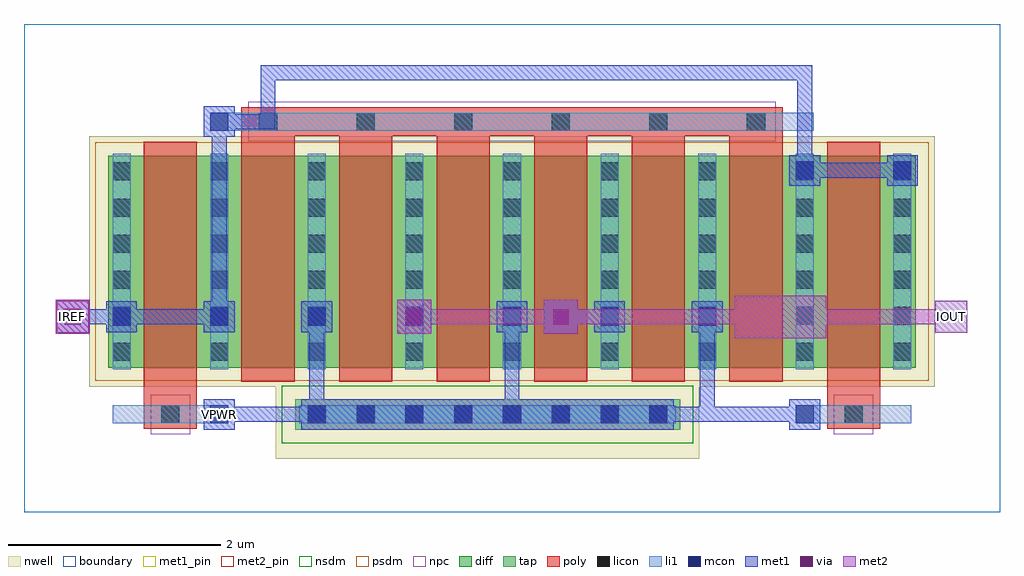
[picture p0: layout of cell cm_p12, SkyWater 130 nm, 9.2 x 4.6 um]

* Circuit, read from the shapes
.subckt cm_p12 IOUT IREF VPWR
XM1 IREF VPWR IREF VPWR sky130_fd_pr__pfet_01v8 w=2 l=0.5 m=2
XM2 VPWR IREF IREF VPWR sky130_fd_pr__pfet_01v8 w=2 l=0.5 m=2
XM3 IOUT IREF VPWR VPWR sky130_fd_pr__pfet_01v8 w=2 l=0.5 m=4
.ends

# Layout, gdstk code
import gdstk
lib = gdstk.Library(unit=1e-6, precision=1e-09)
def R(c, l, rs):  # rectangles x0, y0, x1, y1
    for r in rs: c.add(gdstk.rectangle(r[:2], r[2:], *l))
def A(c, l, x, y, w, h, nx, ny, dx, dy):  # array of equal rectangles
    R(c, l, [(x+i*dx, y+j*dy, x+i*dx+w, y+j*dy+h) for i in range(nx) for j in range(ny)])
nwell = (64, 20)
diff = (65, 20)
tap = (65, 44)
poly = (66, 20)
licon = (66, 44)
li1 = (67, 20)
mcon = (67, 44)
met1_pin = (68, 16)
met1 = (68, 20)
via = (68, 44)
met2_pin = (69, 16)
met2 = (69, 20)
nsdm = (93, 44)
psdm = (94, 20)
npc = (95, 20)
boundary = (235, 4)

cm_p12 = lib.new_cell('cm_p12')
R(cm_p12, nwell, [(2.375,0.5,6.365,1.18), (0.615,1.18,8.585,3.54)])
R(cm_p12, diff, [(0.795,1.36,8.405,3.36)])
R(cm_p12, tap, [(2.555,0.775,6.185,1.065)])
A(cm_p12, poly, 2.05, 1.23, 0.5, 2.45, 6, 1, 0.92, 0)
R(cm_p12, poly, [(1.13,0.785,1.63,1.055), (7.57,0.785,8.07,1.055), (1.13,0.92,1.63,3.49), (7.57,0.92,8.07,3.49), (2.05,3.545,7.15,3.815)])
A(cm_p12, licon, 2.675, 0.835, 0.17, 0.17, 8, 1, 0.46, 0)
A(cm_p12, licon, 0.835, 1.425, 0.17, 0.17, 9, 6, 0.92, 0.34)
A(cm_p12, licon, 2.215, 3.595, 0.17, 0.17, 6, 1, 0.92, 0)
R(cm_p12, licon, [(1.295,0.835,1.465,1.005), (7.735,0.835,7.905,1.005)])
A(cm_p12, li1, 0.835, 1.345, 0.17, 2.03, 9, 1, 0.92, 0)
R(cm_p12, li1, [(0.835,0.835,1.925,1.005), (2.595,0.835,6.145,1.005), (7.275,0.835,8.365,1.005), (1.755,3.595,7.445,3.765)])
A(cm_p12, mcon, 2.675, 0.835, 0.17, 0.17, 8, 1, 0.46, 0)
A(cm_p12, mcon, 0.835, 1.755, 0.17, 0.17, 7, 1, 0.92, 0)
R(cm_p12, mcon, [(1.755,0.835,1.925,1.005), (7.275,0.835,7.445,1.005), (7.275,3.135,7.445,3.305), (8.195,3.135,8.365,3.305), (1.755,3.595,1.925,3.765)])
R(cm_p12, met1_pin, [(1.695,0.775,1.985,1.065)])
A(cm_p12, met1, 2.69, 0.85, 0.14, 1.06, 3, 1, 1.84, 0)
A(cm_p12, met1, 0.775, 1.695, 0.29, 0.29, 7, 1, 0.92, 0)
R(cm_p12, met1, [(1.695,0.775,1.985,1.065), (2.615,0.775,6.125,1.065), (7.215,0.775,7.505,1.065), (1.77,0.85,2.83,0.99), (2.69,0.85,2.83,0.99), (2.69,0.85,4.67,0.99), (4.53,0.85,6.51,0.99), (6.37,0.85,7.43,0.99), (0.3,1.68,0.62,2), (3.52,1.68,3.84,2), (4.9,1.68,5.22,2), (0.39,1.77,0.99,1.91), (0.85,1.77,1.91,1.91), (1.77,1.77,1.91,3.75), (4.99,1.77,5.59,1.91), (7.215,3.075,7.505,3.365), (8.135,3.075,8.425,3.365), (7.29,3.15,8.35,3.29), (7.29,3.15,7.43,4.21), (1.695,3.535,1.985,3.825), (1.77,3.61,2.37,3.75), (2.23,3.61,2.37,4.21), (2.23,4.07,7.43,4.21)])
R(cm_p12, via, [(0.385,1.765,0.535,1.915), (3.605,1.765,3.755,1.915), (4.985,1.765,5.135,1.915)])
R(cm_p12, met2_pin, [(0.31,1.69,0.61,1.99), (8.59,1.69,8.89,1.99)])
R(cm_p12, met2, [(6.7,1.64,7.56,2.04), (0.3,1.68,0.62,2), (3.52,1.68,3.84,2), (4.9,1.68,5.22,2), (0.31,1.69,0.61,1.99), (8.59,1.69,8.89,1.99), (0.39,1.77,0.53,1.91), (3.61,1.77,5.13,1.91), (4.99,1.77,6.97,1.91), (7.29,1.77,8.81,1.91), (8.67,1.77,8.81,1.91)])
R(cm_p12, nsdm, [(2.43,0.65,6.31,1.19)])
R(cm_p12, psdm, [(0.67,1.235,8.53,3.485)])
R(cm_p12, npc, [(1.195,0.735,1.565,1.105), (7.635,0.735,8.005,1.105), (2.115,3.495,7.085,3.865)])
R(cm_p12, boundary, [(0,0,9.2,4.6)])
cm_p12.add(gdstk.Label('VPWR', (1.84,0.92), layer=68, texttype=5))
cm_p12.add(gdstk.Label('IREF', (0.46,1.84), layer=69, texttype=5))
cm_p12.add(gdstk.Label('IOUT', (8.74,1.84), layer=69, texttype=5))
cm_p12.add(gdstk.Label('VPWR', (1.84,0.92), layer=68, texttype=16))
cm_p12.add(gdstk.Label('IREF', (0.46,1.84), layer=69, texttype=16))
cm_p12.add(gdstk.Label('IOUT', (8.74,1.84), layer=69, texttype=16))

lib.write_gds('cm_p12.gds')
